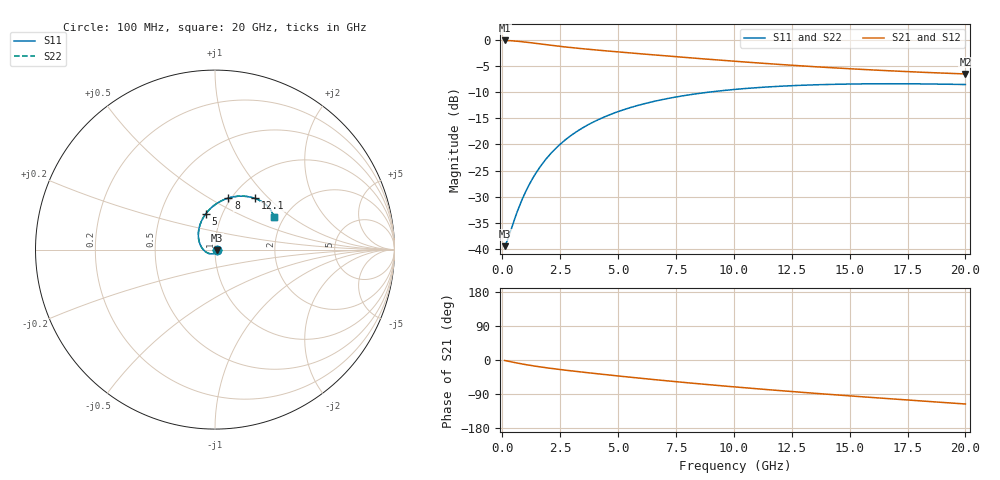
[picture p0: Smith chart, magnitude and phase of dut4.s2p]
! Touchstone file exported from HFSS 2023.1.0
!  File:  D:/Users/fzz/RDL_TSV/temp_RDL_TSV_4_1778742339.aedt
!  Generated:  3:16:17 %x4E0B%x5348  5%x6708 14, 2026
!  Design:  RDL_TSV
!  Project:  temp_RDL_TSV_4_1778742339
!  Setup:  Setup1
!  Solution:  Sweep
! Variables:
!  dtsv = 14.13um
!  hbump = 3um
!  htsv = 69.61um
!  ldown = 254.44um
!  lrdl = 129.01um
!  p = 40
!  p1 = 59.48um
!  rhole = 10um
!  subl = 1279.36um
!  t = 450um
!  tdown = 3.52um
!  trdl = 2.68um
!  viad = 10um
!  wdown = 19.7um
!  wrdl = 11.72um
!  xbump = 18um
# GHz S MA R 50.000000
! Terminal data exported
! Port[1] = TM1_1_T1
! Port[2] = TM1_4_T1
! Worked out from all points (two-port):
!   200 points, 100 MHz to 20 GHz, reference 50 ohm
!   highest |S21| = -0.09 dB at 100 MHz (marker M1); lowest = -6.5 dB at 20 GHz (marker M2)
!   |S21| within 3 dB of the highest: start of sweep to 7.197 GHz
!   lowest |S11| = -39.5 dB at 100 MHz (marker M3), VSWR 1.02, Z = 51 - j0.411 ohm
!   |S11| at or under -10 dB: start of sweep to 8.905 GHz
!   |S22| runs from -39.5 to -8.4 dB; largest |S21 - S12| = 2.4e-14
!   S11 on the Smith chart (normalised r, x): 100 MHz: 1.02, -0.01; 5 GHz: 0.84, +0.35; 8 GHz: 0.97, +0.61; 12.1 GHz: 1.27, +0.83; 20 GHz: 1.76, +0.75
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0.1  0.0106 -22.3  0.9893 -1.3  0.9893 -1.3  0.0106 -22.3
! Gamma 0 0 0 0
! Port Impedance 50 0 50 0
0.2  0.01177 -42.8  0.9878 -2.6  0.9878 -2.6  0.01177 -42.8
0.6  0.02126 -101.4  0.9748 -7.5  0.9748 -7.5  0.02126 -101.4
0.9  0.03121 -129.8  0.9597 -11.0  0.9597 -11.0  0.0312 -129.9
1.2  0.04267 -151.5  0.9422 -14.1  0.9422 -14.1  0.04267 -151.5
1.5  0.05521 -168.7  0.9239 -17.0  0.9239 -17.0  0.0552 -168.7
1.9  0.07293 173.0  0.9001 -20.4  0.9001 -20.4  0.07293 173.0
2.4  0.09578 155.3  0.8729 -24.4  0.8729 -24.4  0.09577 155.3
2.9  0.1186 141.4  0.8488 -28.1  0.8488 -28.1  0.1186 141.4
3.5  0.1453 128.2  0.8232 -32.3  0.8232 -32.3  0.1453 128.2
4.2  0.1748 115.8  0.7965 -36.9  0.7965 -36.9  0.1748 115.8
5  0.2061 104.4  0.7686 -42.1  0.7686 -42.1  0.206 104.4
5.9  0.2377 94.0  0.7395 -47.7  0.7395 -47.7  0.2377 93.9
6.8  0.2655 85.2  0.712 -53.2  0.712 -53.2  0.2654 85.2
8  0.2967 75.5  0.6777 -60.1  0.6777 -60.1  0.2967 75.4
9  0.3181 68.6  0.651 -65.6  0.651 -65.6  0.318 68.6
10.1  0.3371 62.0  0.6239 -71.4  0.6239 -71.4  0.337 62.0
12.1  0.3615 52.2  0.5804 -81.3  0.5804 -81.3  0.3614 52.1
13.4  0.3714 46.9  0.5561 -87.4  0.5561 -87.4  0.3713 46.9
15  0.3785 41.3  0.5302 -94.7  0.5302 -94.7  0.3784 41.3
16.7  0.3809 36.4  0.507 -102.1  0.507 -102.1  0.3808 36.4
20  0.3743 29.4  0.4728 -116.1  0.4728 -116.1  0.3743 29.4
